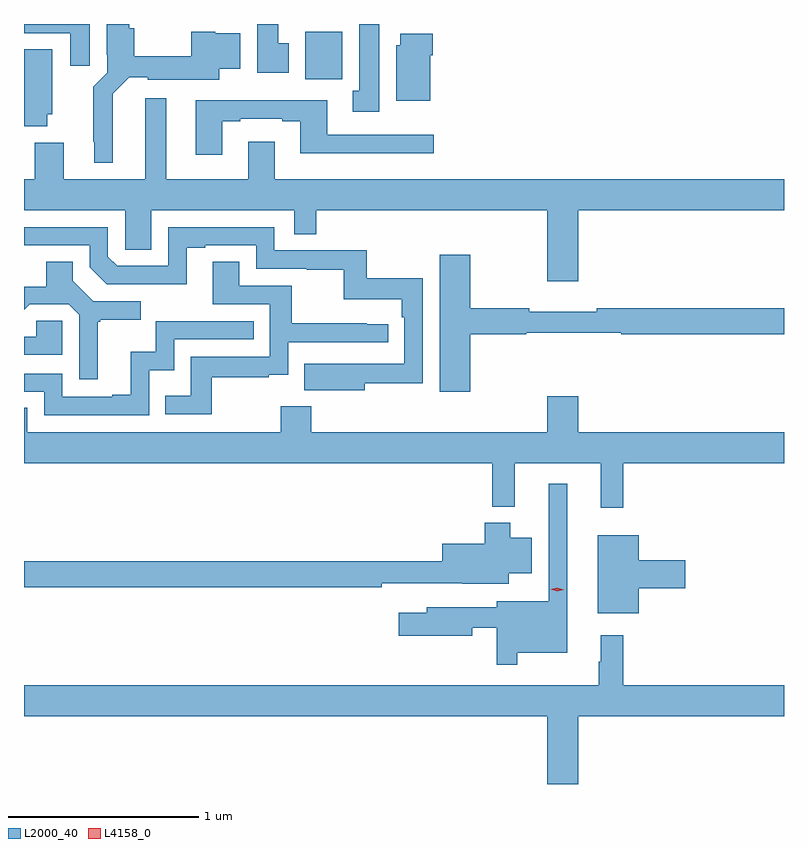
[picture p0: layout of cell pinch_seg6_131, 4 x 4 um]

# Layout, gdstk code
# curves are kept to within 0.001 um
import gdstk
lib = gdstk.Library(unit=1e-6, precision=1e-09)
def R(c, l, rs):  # rectangles x0, y0, x1, y1
    for r in rs: c.add(gdstk.rectangle(r[:2], r[2:], *l))
def P(c, l, *ps):  # polygons
    for p in ps: c.add(gdstk.Polygon(p, *l))
L2000_40 = (2000, 40)
L4158_0 = (4158, 0)

pinch_seg6_131 = lib.new_cell('pinch_seg6_131')
R(pinch_seg6_131, L2000_40, [(990.905,928.044,991.101,928.294)])
P(pinch_seg6_131, L2000_40, [(991.297,928.336),(991.19,928.336),(991.19,927.985),(991.157,927.985),(991.157,927.873),(991.297,927.873)],
  [(990.82,928.236),(990.763,928.236),(990.763,928.336),(990.653,928.336),(990.653,928.08),(990.82,928.08)],
  [(989.893,927.968),(989.979,928.055),(990.078,928.055),(990.078,928.043),(990.454,928.043),(990.454,928.1),(990.565,928.1),(990.565,928.288),(990.432,928.288),(990.432,928.294),(990.307,928.294),(990.307,928.165),(990.006,928.165),(990.006,928.314),(989.98,928.314),(989.98,928.336),(989.861,928.336),(989.861,928.174),(989.865,928.174),(989.865,928.08),(989.791,928.006),(989.791,927.715),(989.795,927.715),(989.795,927.605),(989.893,927.605)],
  [(989.773,928.336),(989.426,928.336),(989.426,928.287),(989.669,928.287),(989.669,928.116),(989.773,928.116)],
  [(991.564,928.172),(991.577,928.172),(991.577,928.285),(991.406,928.285),(991.406,928.224),(991.385,928.224),(991.385,927.932),(991.564,927.932)],
  [(989.548,927.861),(989.575,927.861),(989.575,928.202),(989.426,928.202),(989.426,927.797),(989.548,927.797)],
  [(990.469,927.825),(990.565,927.825),(990.565,927.837),(990.785,927.837),(990.785,927.825),(990.881,927.825),(990.881,927.656),(991.582,927.656),(991.582,927.753),(991.021,927.753),(991.021,927.934),(990.329,927.934),(990.329,927.648),(990.469,927.648)],
  [(990.745,927.715),(990.605,927.715),(990.605,927.52),(990.175,927.52),(990.175,927.946),(990.065,927.946),(990.065,927.52),(989.635,927.52),(989.635,927.712),(989.483,927.712),(989.483,927.52),(989.426,927.52),(989.426,927.356),(989.958,927.356),(989.958,927.148),(990.097,927.148),(990.097,927.356),(990.849,927.356),(990.849,927.229),(990.965,927.229),(990.965,927.356),(992.18,927.356),(992.18,926.982),(992.344,926.982),(992.344,927.356),(993.426,927.356),(993.426,927.52),(990.745,927.52)],
  [(991.219,926.446),(991.524,926.446),(991.524,926.998),(991.231,926.998),(991.231,927.144),(990.744,927.144),(990.744,927.267),(990.186,927.267),(990.186,927.063),(989.916,927.063),(989.868,927.111),(989.868,927.267),(989.426,927.267),(989.426,927.171),(989.772,927.171),(989.772,927.057),(989.862,926.967),(990.283,926.966),(990.283,927.159),(990.379,927.159),(990.379,927.171),(990.648,927.171),(990.648,927.048),(990.913,927.048),(990.913,927.043),(991.11,927.043),(991.11,926.888),(991.415,926.888),(991.415,926.792),(991.428,926.792),(991.428,926.547),(990.901,926.548),(990.901,926.408),(991.219,926.408)],
  [(991.774,926.704),(992.07,926.704),(992.07,926.712),(992.57,926.712),(992.57,926.704),(993.426,926.704),(993.426,926.84),(992.44,926.84),(992.44,926.821),(992.084,926.821),(992.084,926.84),(991.774,926.84),(991.774,927.121),(991.613,927.121),(991.613,926.4),(991.774,926.4)],
  [(990.415,926.478),(990.713,926.478),(990.713,926.489),(990.816,926.489),(990.816,926.661),(991.342,926.661),(991.342,926.757),(991.229,926.757),(991.229,926.762),(990.836,926.762),(990.836,926.958),(990.559,926.958),(990.559,927.086),(990.419,927.086),(990.419,926.862),(990.72,926.862),(990.72,926.586),(990.304,926.586),(990.304,926.38),(990.169,926.38),(990.169,926.283),(990.415,926.283)],
  [(989.815,926.769),(989.827,926.769),(989.827,926.78),(990.04,926.78),(990.04,926.877),(989.79,926.877),(989.683,926.984),(989.683,927.086),(989.543,927.086),(989.543,926.954),(989.426,926.954),(989.426,926.833),(989.455,926.862),(989.661,926.862),(989.718,926.805),(989.718,926.466),(989.815,926.466)],
  [(989.628,926.775),(989.491,926.775),(989.491,926.691),(989.426,926.691),(989.426,926.595),(989.628,926.595)],
  [(990.084,926.513),(990.216,926.513),(990.216,926.676),(990.635,926.676),(990.635,926.772),(990.12,926.772),(990.12,926.611),(989.987,926.611),(989.987,926.386),(989.891,926.386),(989.891,926.373),(989.628,926.373),(989.628,926.496),(989.426,926.496),(989.426,926.4),(989.532,926.4),(989.532,926.277),(990.084,926.277)],
  [(992.579,926.024),(993.426,926.024),(993.426,926.188),(992.344,926.188),(992.344,926.377),(992.18,926.377),(992.18,926.188),(990.938,926.188),(990.938,926.323),(990.778,926.323),(990.778,926.188),(989.442,926.188),(989.442,926.315),(989.426,926.315),(989.426,926.024),(991.891,926.024),(991.891,925.796),(992.009,925.796),(992.009,926.024),(992.462,926.024),(992.462,925.791),(992.579,925.791)],
  [(992.023,925.028),(992.284,925.028),(992.284,925.915),(992.187,925.915),(992.187,925.297),(991.913,925.297),(991.913,925.266),(991.547,925.266),(991.547,925.237),(991.398,925.237),(991.398,925.115),(991.786,925.115),(991.786,925.158),(991.914,925.158),(991.914,924.963),(992.023,924.963)],
  [(991.31,925.392),(991.732,925.392),(991.732,925.391),(991.978,925.391),(991.978,925.445),(992.098,925.445),(992.098,925.633),(991.984,925.633),(991.984,925.711),(991.85,925.711),(991.85,925.6),(991.628,925.6),(991.628,925.508),(989.426,925.508),(989.426,925.372),(991.31,925.372)],
  [(992.662,925.367),(992.905,925.367),(992.905,925.514),(992.662,925.514),(992.662,925.645),(992.447,925.645),(992.447,925.235),(992.662,925.235)],
  [(992.344,924.692),(993.426,924.692),(993.426,924.856),(992.579,924.856),(992.579,925.12),(992.462,925.12),(992.462,924.98),(992.451,924.98),(992.451,924.856),(989.426,924.856),(989.426,924.692),(992.18,924.692),(992.18,924.336),(992.344,924.336)])
P(pinch_seg6_131, L4158_0, [(992.232,925.35),(992.198,925.362),(992.197,925.362),(992.198,925.362),(992.233,925.37),(992.268,925.359),(992.268,925.359),(992.268,925.359)])

lib.write_gds('pinch_seg6_131.gds')
